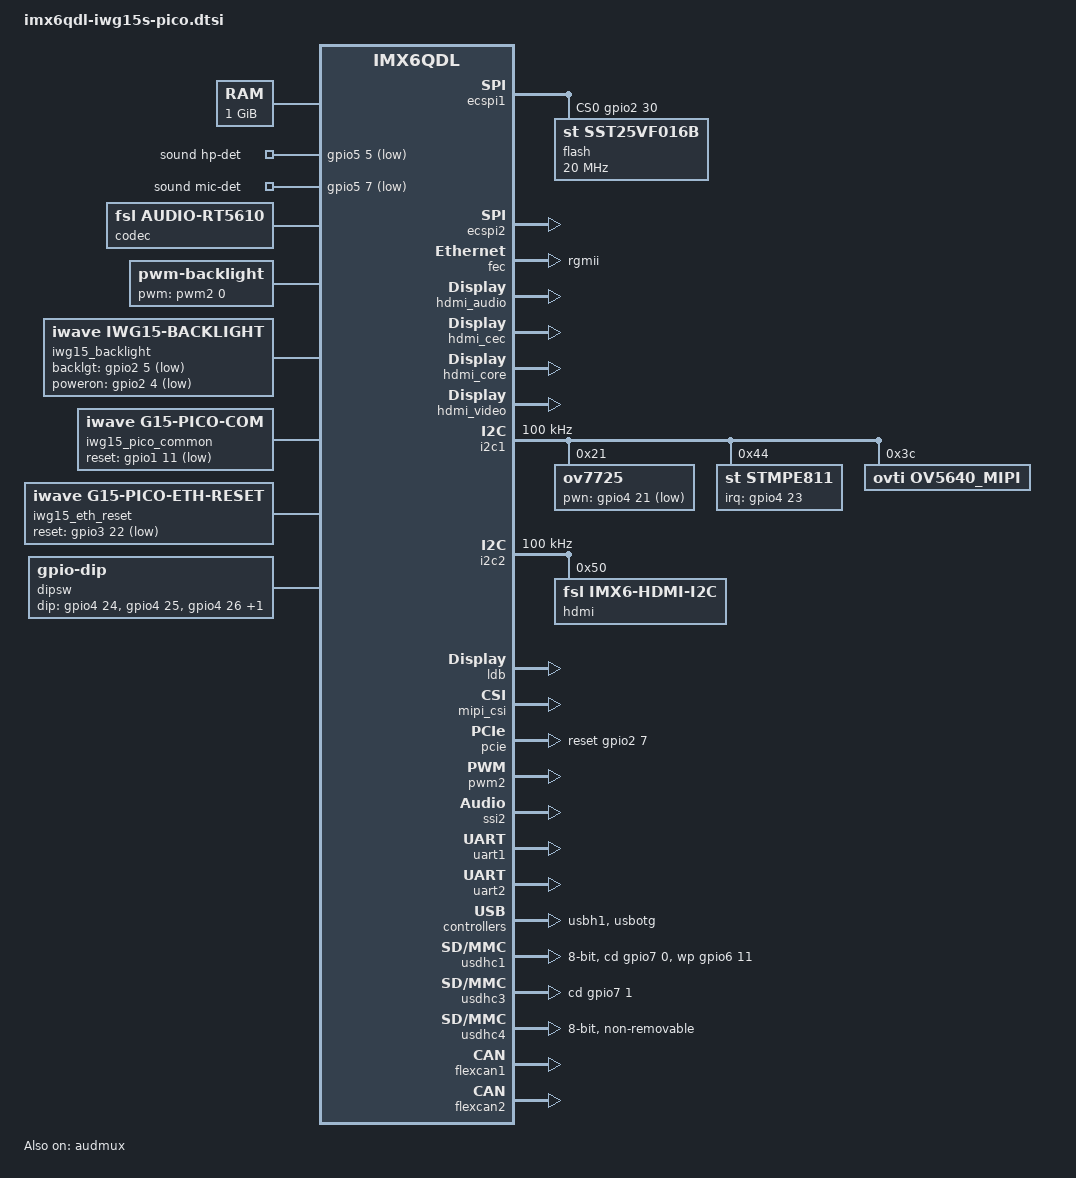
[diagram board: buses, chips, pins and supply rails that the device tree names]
/*
 * Copyright (c) 2014-2015 iWave Systems Technologies Pvt. Ltd.
 *
 * The code contained herein is licensed under the GNU General Public
 * License. You may obtain a copy of the GNU General Public License
 * Version 2 or later at the following locations:
 *
 * http://www.opensource.org/licenses/gpl-license.html
 * http://www.gnu.org/copyleft/gpl.html
 */

/ {
	aliases {
		mxcfb0 = &mxcfb1;
		mxcfb1 = &mxcfb2;
		mxcfb2 = &mxcfb3;
		mxcfb3 = &mxcfb4;
	};

	memory {
		reg = <0x10000000 0x40000000>;
	};

	sound-hdmi {
		compatible = "fsl,imx6q-audio-hdmi",
			     "fsl,imx-audio-hdmi";
		model = "imx-audio-hdmi";
		hdmi-controller = <&hdmi_audio>;
	};

	sound {
		compatible = "fsl,imx-audio-rt5610","fsl,imx6q";
		model = "imx6_iwg15m-rt5610";
		ssi-controller = <&ssi2>;
		audio-codec = <&codec>;
		audio-routing =
			"MIC_IN", "Mic Jack",
			"Mic Jack", "Mic Bias",
			"Headphone Jack", "HP_OUT";
		mux-int-port = <2>;
		mux-ext-port = <4>;
		hp-det-gpios = <&gpio5 5 1>;
		mic-det-gpios = <&gpio5 7 1>;
	};

	codec: codec {
	       compatible = "fsl,audio-rt5610";
	       status = "okay";
        };

	mxcfb1: fb@0 {
		compatible = "fsl,mxc_sdc_fb";
		disp_dev = "hdmi";
		interface_pix_fmt = "RGB24";
		mode_str ="1920x1080M@60";
		default_bpp = <24>;
		int_clk = <0>;
		late_init = <0>;
		status = "disabled";
	};

	mxcfb2: fb@1 {
		compatible = "fsl,mxc_sdc_fb";
		disp_dev = "ldb";
		interface_pix_fmt = "RGB666";
		default_bpp = <16>;
		int_clk = <0>;
		late_init = <0>;
		status = "disabled";
	};

	mxcfb3: fb@2 {
		compatible = "fsl,mxc_sdc_fb";
		disp_dev = "ldb";
		interface_pix_fmt = "RGB666";
		default_bpp = <16>;
		int_clk = <0>;
		late_init = <0>;
		status = "disabled";
	};

	mxcfb4: fb@3 {
		compatible = "fsl,mxc_sdc_fb";
		disp_dev = "lcd";
		interface_pix_fmt = "RGB666";
		mode_str ="LCD-WVGA";
		default_bpp = <24>;
		int_clk = <0>;
		late_init = <0>;
		status = "disabled";
	};

	pwm-backlight {
		compatible = "pwm-backlight";
		pwms = <&pwm2 0 5000000>;
		brightness-levels = <
			0  1  2  3  4  5  6  7  8  9
			10 11 12 13 14 15 16 17 18 19
			20 21 22 23 24 25 26 27 28 29
			30 31 32 33 34 35 36 37 38 39
			40 41 42 43 44 45 46 47 48 49
			50 51 52 53 54 55 56 57 58 59
			60 61 62 63 64 65 66 67 68 69
			70 71 72 73 74 75 76 77 78 79
			80 81 82 83 84 85 86 87 88 89
			90 91 92 93 94 95 96 97 98 99
			100
			>;
		default-brightness-level = <50>;
	};

	v4l2_cap_0 {
		compatible = "fsl,imx6q-v4l2-capture";
		ipu_id = <0>;
		csi_id = <0>;
		mclk_source = <0>;
		status = "okay";
	};

	v4l2_cap_1: v4l2_cap_1 {
		compatible = "fsl,imx6q-v4l2-capture";
		ipu_id = <0>;
		csi_id = <1>;
		mclk_source = <0>;
		status = "okay";
	};

	v4l2_out {
		compatible = "fsl,mxc_v4l2_output";
		status = "okay";
	};

	unused_gpios: unused_gpios {
		compatible = "iwave,unused-gpios";
		status = "okay";
	};

	iwg15_backlight {
		compatible = "iwave,iwg15-backlight";
		backlgt-gpios = <&gpio2 5 1>;
		poweron-gpios = <&gpio2 4 1>;
		status = "okay";
	};

	iwg15_pico_common {
		compatible = "iwave,g15-pico-com";
		reset-gpios = <&gpio1 11 1>;
		status = "okay";
	};

        iwg15_eth_reset {
                compatible = "iwave,g15-pico-eth-reset";
                reset-gpios = <&gpio3 22 1>;
                status = "okay";
        };

	led {
		compatible = "gpio-leds";
		pinctrl-names = "default";
		pinctrl-0 = <&pinctrl_led_2>;
		led-gpios = <&gpio5 12 0
			&gpio5 13 0
			&gpio5 14 0
			&gpio5 15 0  >;
		status = "okay";
	};

	dipsw {
		compatible = "gpio-dip";
		pinctrl-names = "default";
		pinctrl-0 = <&pinctrl_dipsw_2>;
		dip-gpios = <&gpio4 24 0
			&gpio4 25 0
			&gpio4 26 0
			&gpio4 27 0  >;
		status = "okay";
	};

	ramoops_device {
		compatible = "fsl,mxc_ramoops";
		record_size = <524288>; /*512K*/
		console_size = <262144>; /*256K*/
		ftrace_size = <262144>;  /*256K*/
		dump_oops = <1>;
		status = "okay";
	};
};

&audmux {
	pinctrl-names = "default";
	pinctrl-0 = <&pinctrl_audmux_1>;
	status = "okay";
};

&ecspi1 {
	fsl,spi-num-chipselects = <1>;
	cs-gpios = <&gpio2 30 0>;
	pinctrl-names = "default";
	pinctrl-0 = <&pinctrl_ecspi1_1 &pinctrl_ecspi1_cs_1>;
	status = "okay";

	flash: m25p80@0 {
		#address-cells = <1>;
		#size-cells = <1>;
		compatible = "st,sst25vf016b";
		spi-max-frequency = <20000000>;
		reg = <0>;
	};
};

&ecspi2 {
	fsl,spi-num-chipselects = <1>;
	cs-gpios = <&gpio5 29 0>;
	pinctrl-names = "default";
	pinctrl-0 = <&pinctrl_ecspi2_1 &pinctrl_ecspi2_cs_2>;
	status = "okay";
};

&fec {
	pinctrl-names = "default";
	pinctrl-0 = <&pinctrl_enet_1>;
	phy-mode = "rgmii";
	status = "okay";
};

&gpc {
	fsl,cpu_pupscr_sw2iso = <0xf>;
	fsl,cpu_pupscr_sw = <0xf>;
	fsl,cpu_pdnscr_iso2sw = <0x1>;
	fsl,cpu_pdnscr_iso = <0x1>;
	fsl,ldo-bypass = <1>; /* use ldo-bypass, u-boot will check it and configure */
	fsl,wdog-reset = <1>; /* watchdog select of reset source */
};

&hdmi_audio {
	status = "okay";
};

&hdmi_cec {
	pinctrl-names = "default";
	pinctrl-0 = <&pinctrl_hdmi_cec_1>;
	status = "okay";
};

&hdmi_core {
	ipu_id = <0>;
	disp_id = <1>;
	status = "okay";
};

&hdmi_video {
	fsl,phy_reg_vlev = <0x0294>;
	fsl,phy_reg_cksymtx = <0x800d>;
	status = "okay";
};

&mxcfb1 {
        status = "okay";
};

&mxcfb2 {
        status = "okay";
};

&i2c1 {
	clock-frequency = <100000>;
	pinctrl-names = "default";
	pinctrl-0 = <&pinctrl_i2c1_1>;
	status = "okay";

	ov7725: ov7725@21 {
		compatible = "ov7725";
		reg = <0x21>;
		pinctrl-names = "default";
	 	pinctrl-0 = <&pinctrl_csi1_1>; 
		clocks = <&clks 201>;
		clock-names = "csi_mclk";
			pwn-gpios = <&gpio4 21 1>;
		csi_id = <1>;
		mclk = <24000000>;
		mclk_source = <0>;
	};

/* STMPE811 touch screen controller */
	stmpe811@44 {
		compatible = "st,stmpe811";
		#address-cells = <1>;
		#size-cells = <0>;
		reg = <0x44>;
		interrupts = <23 2>;
		interrupt-parent = <&gpio4>;
		interrupt-controller;
		id = <0>;
		blocks = <0x5>;
		irq-trigger = <0x1>;

		stmpe_touchscreen {
			compatible = "st,stmpe-ts";
			reg = <0>;
			/* 3.25 MHz ADC clock speed */
			st,adc-freq = <3>;
			/* 8 sample average control */
			st,ave-ctrl = <2>;
			/* 7 length fractional part in z */
			st,fraction-z = <7>;
			/*
			 * 50 mA typical 80 mA max touchscreen drivers
			 * current limit value
			 */
			st,i-drive = <0>;
			/* 12-bit ADC */
			st,mod-12b = <1>;
			/* internal ADC reference */
			st,ref-sel = <0>;
			/* ADC converstion time: 80 clocks */
			st,sample-time = <4>;
			/* 1 ms panel driver settling time */
			st,settling = <3>;
			/* 5 ms touch detect interrupt delay */
			st,touch-det-delay = <4>;
		};
	};

	ov5640_mipi: ov5640_mipi@3c { 
		compatible = "ovti,ov5640_mipi";
		reg = <0x3c>;
		clocks = <&clks 201>;
		clock-names = "csi_mclk";
		csi_id = <0>;
		mclk = <24000000>;
		mclk_source = <0>;
	};

};

&i2c2 {
	clock-frequency = <100000>;
	pinctrl-names = "default";
	pinctrl-0 = <&pinctrl_i2c2_1>;
	status = "okay";

	hdmi: edid@50 {
		compatible = "fsl,imx6-hdmi-i2c";
		reg = <0x50>;
	};
};

&ldb {
	status = "okay";

	lvds-channel@0 {
		fsl,data-mapping = "spwg";
		fsl,data-width = <18>;
		primary;
                //crtc = "ipu2-di1";
                crtc = "ipu1-di0";
		status = "okay";

		display-timings {
			native-mode = <&timing1>;
			timing1: ldb-wvga {
				clock-frequency = <33260000>;
				hactive = <800>;
				vactive = <480>;
				hback-porch = <88>;
				hfront-porch = <40>;
				vback-porch = <33>;
				vfront-porch = <10>;
				hsync-len = <128>;
				vsync-len = <2>;
			};
		};
	};

	lvds-channel@1 {
		fsl,data-mapping = "spwg";
		fsl,data-width = <18>;
		//primary;
                //crtc = "ipu1-di0";
                crtc = "ipu2-di1";
		status = "disabled";

		display-timings {
			native-mode = <&timing0>;
			timing0: ldb-svga {
				clock-frequency = <40000000>;
				hactive = <800>;
				vactive = <600>;
				hback-porch = <8>;
				hfront-porch = <8>;
				vback-porch = <6>;
				vfront-porch = <6>;
				hsync-len = <8>;
				vsync-len = <6>;
			};
		};
	};
};

&mipi_csi {
	status = "okay";
	ipu_id = <0>;
	csi_id = <0>;
	v_channel = <0>;
	lanes = <2>;
};

&pcie {
	wake-up-gpio = <&gpio2 6 0>;
	reset-gpio = <&gpio2 7 0>;
	status = "okay";
};

&pwm2 {
	pinctrl-names = "default";
	pinctrl-0 = <&pinctrl_pwm2_1>;
	status = "okay";
};

&ssi2 {
	fsl,mode = "ac97-slave";
	status = "okay";
};

&uart1 {
	pinctrl-names = "default";
	pinctrl-0 = <&pinctrl_uart1_1>;
	fsl,uart-has-rtscts;
	status = "okay";
};

&uart2 {
	pinctrl-names = "default";
	pinctrl-0 = <&pinctrl_uart2_1>;
	status = "okay";
};

&uart3 {
	pinctrl-names = "default";
	pinctrl-0 = <&pinctrl_uart3_2>;
	status = "disabled";
};

&uart4 {
	pinctrl-names = "default";
	pinctrl-0 = <&pinctrl_uart4_1>;
	status = "disabled";
};

&usbh1 {
	status = "okay";
};

&usbotg {
	pinctrl-names = "default";
	pinctrl-0 = <&pinctrl_usbotg_1>;
	disable-over-current;
	status = "okay";
};

&usdhc1 {
	pinctrl-names = "default";
	pinctrl-0 = <&pinctrl_usdhc1_1>;
	bus-width = <8>;
	cd-gpios = <&gpio7 0 0>;
	wp-gpios = <&gpio6 11 0>;
	no-1-8-v;
	keep-power-in-suspend;
	enable-sdio-wakeup;
	status = "okay";
};

&usdhc3 {
	pinctrl-names = "default";
	pinctrl-0 = <&pinctrl_usdhc3_1>;
	cd-gpios = <&gpio7 1 0>;
	no-1-8-v;
	keep-power-in-suspend;
	enable-sdio-wakeup;
	status = "okay";
};

&usdhc4 {
	pinctrl-names = "default";
	pinctrl-0 = <&pinctrl_usdhc4_1>;
	bus-width = <8>;
	non-removable;
	no-1-8-v;
	keep-power-in-suspend;
	status = "okay";
};

&flexcan1 {
	pinctrl-names = "default";
	pinctrl-0 = <&pinctrl_flexcan1_1>;
	trx-en-gpio = <&gpio5 6 1>;
	status = "okay";
};

&flexcan2 {
	pinctrl-names = "default";
	pinctrl-0 = <&pinctrl_flexcan2_1>;
	status = "okay";
};
